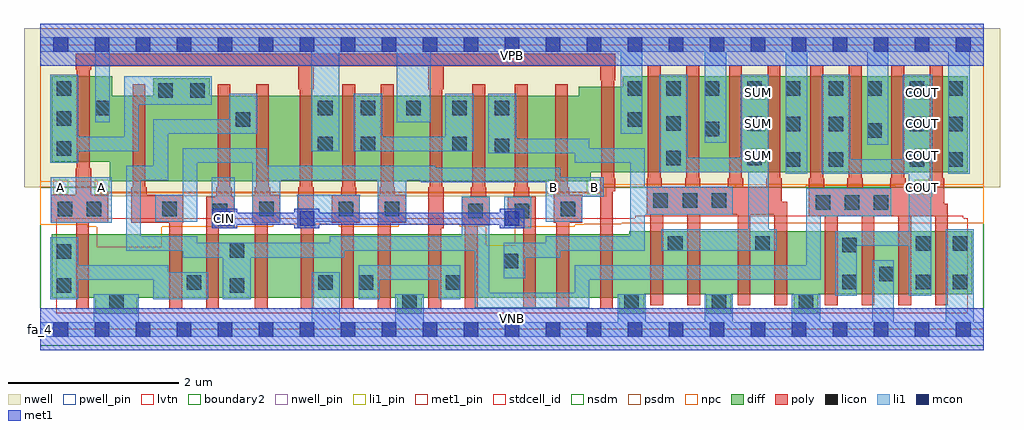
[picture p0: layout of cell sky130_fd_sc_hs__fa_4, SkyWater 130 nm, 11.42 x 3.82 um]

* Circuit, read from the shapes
.subckt sky130_fd_sc_hs__fa_4 A B CIN COUT SUM VGND VNB VPB VPWR
XM1 VGND A n1 VNB sky130_fd_pr__nfet_01v8_lvt w=0.74 l=0.15
XM2 n1 B VGND VNB sky130_fd_pr__nfet_01v8_lvt w=0.74 l=0.15
XM3 n2 CIN n1 VNB sky130_fd_pr__nfet_01v8_lvt w=0.74 l=0.15
XM4 n3 B n2 VNB sky130_fd_pr__nfet_01v8_lvt w=0.74 l=0.15
XM5 VGND A n3 VNB sky130_fd_pr__nfet_01v8_lvt w=0.74 l=0.15
XM6 n4 CIN VGND VNB sky130_fd_pr__nfet_01v8_lvt w=0.74 l=0.15
XM7 VGND B n4 VNB sky130_fd_pr__nfet_01v8_lvt w=0.74 l=0.15
XM8 n4 A VGND VNB sky130_fd_pr__nfet_01v8_lvt w=0.74 l=0.15
XM9 n5 n2 n4 VNB sky130_fd_pr__nfet_01v8_lvt w=0.74 l=0.15
XM10 n6 CIN n5 VNB sky130_fd_pr__nfet_01v8_lvt w=0.74 l=0.15
XM11 n7 B n6 VNB sky130_fd_pr__nfet_01v8_lvt w=0.74 l=0.15
XM12 VGND A n7 VNB sky130_fd_pr__nfet_01v8_lvt w=0.74 l=0.15
XM13 SUM n5 VGND VNB sky130_fd_pr__nfet_01v8_lvt w=0.74 l=0.15 m=4
XM14 COUT n2 VGND VNB sky130_fd_pr__nfet_01v8_lvt w=0.74 l=0.15 m=4
XM15 VPWR A n8 VPB sky130_fd_pr__pfet_01v8 w=1 l=0.15
XM16 n8 B VPWR VPB sky130_fd_pr__pfet_01v8 w=1 l=0.15
XM17 n2 CIN n8 VPB sky130_fd_pr__pfet_01v8 w=1 l=0.15
XM18 n9 B n2 VPB sky130_fd_pr__pfet_01v8 w=1 l=0.15
XM19 VPWR A n9 VPB sky130_fd_pr__pfet_01v8 w=1 l=0.15
XM20 n10 CIN VPWR VPB sky130_fd_pr__pfet_01v8 w=1 l=0.15
XM21 VPWR B n10 VPB sky130_fd_pr__pfet_01v8 w=1 l=0.15
XM22 n10 A VPWR VPB sky130_fd_pr__pfet_01v8 w=1 l=0.15
XM23 n5 n2 n10 VPB sky130_fd_pr__pfet_01v8 w=1 l=0.15
XM24 n11 CIN n5 VPB sky130_fd_pr__pfet_01v8 w=1 l=0.15
XM25 n12 B n11 VPB sky130_fd_pr__pfet_01v8 w=1 l=0.15
XM26 VPWR A n12 VPB sky130_fd_pr__pfet_01v8 w=1 l=0.15
XM27 SUM n5 VPWR VPB sky130_fd_pr__pfet_01v8 w=1.12 l=0.15 m=4
XM28 COUT n2 VPWR VPB sky130_fd_pr__pfet_01v8 w=1.12 l=0.15 m=4
.ends

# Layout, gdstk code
import gdstk
lib = gdstk.Library(unit=1e-6, precision=1e-09)
def R(c, l, rs):  # rectangles x0, y0, x1, y1
    for r in rs: c.add(gdstk.rectangle(r[:2], r[2:], *l))
def A(c, l, x, y, w, h, nx, ny, dx, dy):  # array of equal rectangles
    R(c, l, [(x+i*dx, y+j*dy, x+i*dx+w, y+j*dy+h) for i in range(nx) for j in range(ny)])
def P(c, l, *ps):  # polygons
    for p in ps: c.add(gdstk.Polygon(p, *l))
nwell_pin = (64, 16)
nwell = (64, 20)
diff = (65, 20)
poly = (66, 20)
licon = (66, 44)
li1_pin = (67, 16)
li1 = (67, 20)
mcon = (67, 44)
met1_pin = (68, 16)
met1 = (68, 20)
stdcell_id = (81, 4)
nsdm = (93, 44)
psdm = (94, 20)
npc = (95, 20)
pwell_pin = (122, 16)
lvtn = (125, 44)
boundary2 = (236, 0)

sky130_fd_sc_hs__fa_4 = lib.new_cell('sky130_fd_sc_hs__fa_4')
R(sky130_fd_sc_hs__fa_4, nwell_pin, [(0,3.085,11.04,3.33)])
P(sky130_fd_sc_hs__fa_4, nwell, [(11.23,3.52),(-0.19,3.52),(-0.19,1.66),(0.635,1.66),(0.635,1.555),(6.62,1.555),(6.62,1.66),(11.23,1.66)])
P(sky130_fd_sc_hs__fa_4, diff, [(10.855,2.96),(6.815,2.96),(6.815,2.84),(6.3,2.84),(6.3,2.735),(1.985,2.735),(1.985,2.94),(1.32,2.94),(1.32,2.735),(0.845,2.735),(0.845,2.96),(0.135,2.96),(0.135,1.96),(0.815,1.96),(0.815,1.735),(6.44,1.735),(6.44,1.84),(10.855,1.84)],
  [(10.905,1.15),(6.89,1.15),(6.89,1.11),(0.135,1.11),(0.135,0.37),(0.645,0.37),(0.645,0.18),(1.135,0.18),(1.135,0.37),(4.175,0.37),(4.175,0.18),(4.465,0.18),(4.465,0.37),(6.775,0.37),(6.775,0.18),(7.065,0.18),(7.065,0.41),(7.795,0.41),(7.795,0.18),(8.085,0.18),(8.085,0.41),(8.815,0.41),(8.815,0.18),(9.105,0.18),(9.105,0.41),(10.905,0.41)])
P(sky130_fd_sc_hs__fa_4, poly, [(10.62,1.47),(10.575,1.47),(10.575,1.765),(10.56,1.765),(10.56,3.09),(10.41,3.09),(10.41,1.765),(10.395,1.765),(10.395,1.65),(10.125,1.65),(10.125,1.765),(10.11,1.765),(10.11,3.09),(9.96,3.09),(9.96,1.765),(9.945,1.765),(9.945,1.65),(9.625,1.65),(9.625,1.765),(9.61,1.765),(9.61,3.09),(9.46,3.09),(9.46,1.765),(9.445,1.765),(9.445,1.65),(9.175,1.65),(9.175,1.765),(9.16,1.765),(9.16,3.09),(9.01,3.09),(9.01,1.765),(8.995,1.765),(8.995,1.32),(9.18,1.32),(9.18,0.28),(9.33,0.28),(9.33,1.32),(9.61,1.32),(9.61,0.28),(9.76,0.28),(9.76,1.32),(10.04,1.32),(10.04,0.28),(10.19,0.28),(10.19,1.32),(10.47,1.32),(10.47,0.28),(10.62,0.28)],
  [(8.74,1.49),(8.675,1.49),(8.675,1.765),(8.66,1.765),(8.66,3.09),(8.51,3.09),(8.51,1.765),(8.495,1.765),(8.495,1.67),(8.225,1.67),(8.225,1.765),(8.21,1.765),(8.21,3.09),(8.06,3.09),(8.06,1.765),(8.045,1.765),(8.045,1.67),(7.725,1.67),(7.725,1.765),(7.71,1.765),(7.71,3.09),(7.56,3.09),(7.56,1.765),(7.545,1.765),(7.545,1.67),(7.275,1.67),(7.275,1.765),(7.26,1.765),(7.26,3.09),(7.11,3.09),(7.11,1.765),(7.095,1.765),(7.095,1.34),(7.14,1.34),(7.14,0.28),(7.29,0.28),(7.29,1.34),(7.57,1.34),(7.57,0.28),(7.72,0.28),(7.72,1.34),(8.16,1.34),(8.16,0.28),(8.31,0.28),(8.31,1.34),(8.59,1.34),(8.59,0.28),(8.74,0.28)],
  [(6.73,1.765),(6.715,1.765),(6.715,2.915),(6.73,2.915),(6.73,3.225),(0.415,3.225),(0.415,3.035),(0.43,3.035),(0.43,1.885),(0.415,1.885),(0.415,1.575),(0.125,1.575),(0.125,1.245),(0.42,1.245),(0.42,0.24),(0.57,0.24),(0.57,1.245),(0.795,1.245),(0.795,1.575),(0.595,1.575),(0.595,1.885),(0.58,1.885),(0.58,3.035),(0.595,3.035),(0.595,3.075),(3.02,3.075),(3.02,2.81),(3.035,2.81),(3.035,1.66),(3.02,1.66),(3.02,1.185),(3.05,1.185),(3.05,0.24),(3.2,0.24),(3.2,1.66),(3.185,1.66),(3.185,2.81),(3.2,2.81),(3.2,3.075),(4.54,3.075),(4.54,2.81),(4.555,2.81),(4.555,1.66),(4.54,1.66),(4.54,0.24),(4.69,0.24),(4.69,1.185),(4.72,1.185),(4.72,1.66),(4.705,1.66),(4.705,2.81),(4.72,2.81),(4.72,3.075),(6.55,3.075),(6.55,2.915),(6.565,2.915),(6.565,1.765),(6.55,1.765),(6.55,0.24),(6.7,0.24),(6.7,1.615),(6.73,1.615)],
  [(6.34,1.575),(6.19,1.575),(6.19,1.66),(6.175,1.66),(6.175,2.865),(6.025,2.865),(6.025,1.66),(6.01,1.66),(6.01,1.245),(6.04,1.245),(6.04,0.24),(6.19,0.24),(6.19,1.245),(6.34,1.245)],
  [(5.8,1.55),(5.72,1.55),(5.72,1.66),(5.705,1.66),(5.705,2.865),(5.555,2.865),(5.555,1.66),(5.54,1.66),(5.54,1.55),(5.47,1.55),(5.47,1.22),(5.65,1.22),(5.65,0.24),(5.8,0.24)],
  [(5.26,1.55),(5.22,1.55),(5.22,1.66),(5.205,1.66),(5.205,2.865),(5.055,2.865),(5.055,1.66),(5.04,1.66),(5.04,1.55),(4.93,1.55),(4.93,1.22),(4.97,1.22),(4.97,0.24),(5.12,0.24),(5.12,1.22),(5.26,1.22)],
  [(4.28,1.575),(4.15,1.575),(4.15,1.66),(4.135,1.66),(4.135,2.865),(3.985,2.865),(3.985,1.66),(3.97,1.66),(3.97,1.575),(3.95,1.575),(3.95,0.24),(4.1,0.24),(4.1,1.245),(4.28,1.245)],
  [(3.74,1.575),(3.7,1.575),(3.7,1.66),(3.685,1.66),(3.685,2.865),(3.535,2.865),(3.535,1.66),(3.52,1.66),(3.52,1.575),(3.41,1.575),(3.41,1.245),(3.52,1.245),(3.52,0.24),(3.67,0.24),(3.67,1.245),(3.74,1.245)],
  [(2.81,1.575),(2.69,1.575),(2.69,1.66),(2.675,1.66),(2.675,2.865),(2.525,2.865),(2.525,1.66),(2.51,1.66),(2.51,1.575),(2.48,1.575),(2.48,1.245),(2.51,1.245),(2.51,0.24),(2.66,0.24),(2.66,1.245),(2.81,1.245)],
  [(2.27,1.55),(2.24,1.55),(2.24,1.66),(2.225,1.66),(2.225,2.865),(2.075,2.865),(2.075,1.66),(2.06,1.66),(2.06,1.55),(1.94,1.55),(1.94,0.24),(2.09,0.24),(2.09,1.22),(2.27,1.22)],
  [(1.675,1.575),(1.245,1.575),(1.245,1.66),(1.23,1.66),(1.23,2.865),(1.08,2.865),(1.08,1.66),(1.065,1.66),(1.065,1.245),(1.51,1.245),(1.51,0.24),(1.66,0.24),(1.66,1.245),(1.675,1.245)])
A(sky130_fd_sc_hs__fa_4, licon, 6.835, 0.24, 0.17, 0.17, 3, 1, 1.02, 0)
A(sky130_fd_sc_hs__fa_4, licon, 9.075, 1.4, 0.17, 0.17, 3, 1, 0.34, 0)
A(sky130_fd_sc_hs__fa_4, licon, 7.175, 1.42, 0.17, 0.17, 3, 1, 0.34, 0)
A(sky130_fd_sc_hs__fa_4, licon, 8.725, 1.9, 0.17, 0.17, 1, 3, 0, 0.415)
A(sky130_fd_sc_hs__fa_4, licon, 9.225, 1.9, 0.17, 0.17, 1, 3, 0, 0.415)
A(sky130_fd_sc_hs__fa_4, licon, 10.175, 1.9, 0.17, 0.17, 1, 3, 0, 0.415)
A(sky130_fd_sc_hs__fa_4, licon, 10.625, 1.9, 0.17, 0.17, 1, 3, 0, 0.415)
A(sky130_fd_sc_hs__fa_4, licon, 8.275, 1.92, 0.17, 0.17, 1, 3, 0, 0.405)
A(sky130_fd_sc_hs__fa_4, licon, 0.195, 2.03, 0.17, 0.17, 1, 3, 0, 0.35)
A(sky130_fd_sc_hs__fa_4, licon, 3.75, 2.505, 0.17, 0.17, 3, 1, 0.535, 0)
A(sky130_fd_sc_hs__fa_4, licon, 6.875, 2.73, 0.17, 0.17, 3, 1, 0.45, 0)
R(sky130_fd_sc_hs__fa_4, licon, [(0.805,0.24,0.975,0.41), (4.235,0.24,4.405,0.41), (0.195,0.43,0.365,0.6), (2.215,0.43,2.385,0.6), (1.715,0.465,1.885,0.635), (3.255,0.465,3.425,0.635), (3.725,0.465,3.895,0.635), (4.745,0.465,4.915,0.635), (9.385,0.47,9.555,0.64), (10.245,0.47,10.415,0.64), (10.675,0.47,10.845,0.64), (9.815,0.56,9.985,0.73), (5.425,0.715,5.595,0.885), (0.195,0.825,0.365,0.995), (2.215,0.84,2.385,1.01), (9.385,0.9,9.555,1.07), (7.345,0.92,7.515,1.09), (8.365,0.92,8.535,1.09), (10.245,0.92,10.415,1.09), (10.675,0.92,10.845,1.09), (2.02,1.3,2.19,1.47), (5.01,1.3,5.18,1.47), (5.55,1.3,5.72,1.47), (0.205,1.325,0.375,1.495), (0.545,1.325,0.715,1.495), (1.425,1.325,1.595,1.495), (2.56,1.325,2.73,1.495), (3.49,1.325,3.66,1.495), (4.03,1.325,4.2,1.495), (6.09,1.325,6.26,1.495), (7.325,1.92,7.495,2.09), (5.32,2.06,5.49,2.23), (3.25,2.085,3.42,2.255), (3.75,2.085,3.92,2.255), (4.82,2.085,4.99,2.255), (9.675,2.24,9.845,2.41), (7.775,2.26,7.945,2.43), (7.325,2.325,7.495,2.495), (2.29,2.37,2.46,2.54), (6.875,2.37,7.045,2.54), (0.645,2.505,0.815,2.675), (3.25,2.505,3.42,2.675), (5.32,2.505,5.49,2.675), (1.38,2.71,1.55,2.88), (1.755,2.71,1.925,2.88), (9.675,2.73,9.845,2.9)])
A(sky130_fd_sc_hs__fa_4, li1_pin, 10.235, 1.58, 0.17, 0.17, 1, 4, 0, 0.37)
A(sky130_fd_sc_hs__fa_4, li1_pin, 8.315, 1.95, 0.17, 0.17, 1, 3, 0, 0.37)
R(sky130_fd_sc_hs__fa_4, li1_pin, [(0.155,1.58,0.325,1.75), (0.635,1.58,0.805,1.75), (5.915,1.58,6.085,1.75), (6.395,1.58,6.565,1.75)])
R(sky130_fd_sc_hs__fa_4, li1, [(2.005,1.18,2.275,1.78), (5.43,1.18,5.745,1.55), (0.125,1.245,0.835,1.78)])
P(sky130_fd_sc_hs__fa_4, li1, [(0,-0.085),(0,0.085),(0.625,0.085),(0.625,0.41),(1.155,0.41),(1.155,0.085),(3.175,0.085),(3.175,0.67),(3.505,0.67),(3.505,0.085),(4.155,0.085),(4.155,0.41),(4.485,0.41),(4.485,0.085),(6.755,0.085),(6.755,0.41),(7.085,0.41),(7.085,0.085),(7.775,0.085),(7.775,0.41),(8.105,0.41),(8.105,0.085),(8.795,0.085),(8.795,0.41),(9.125,0.41),(9.125,0.085),(9.735,0.085),(9.735,0.81),(9.985,0.81),(9.985,0.085),(10.595,0.085),(10.595,1.17),(10.925,1.17),(10.925,0.085),(11.04,0.085),(11.04,-0.085)],
  [(0,3.245),(0,3.415),(11.04,3.415),(11.04,3.245),(10.875,3.245),(10.875,1.82),(10.625,1.82),(10.625,3.245),(9.925,3.245),(9.925,2.16),(9.675,2.16),(9.675,3.245),(8.975,3.245),(8.975,1.82),(8.725,1.82),(8.725,3.245),(8.025,3.245),(8.025,2.18),(7.775,2.18),(7.775,3.245),(7.045,3.245),(7.045,2.29),(6.795,2.29),(6.795,3.245),(4.57,3.245),(4.57,2.425),(4.17,2.425),(4.17,3.245),(3.5,3.245),(3.5,2.085),(3.17,2.085),(3.17,3.245),(0.815,3.245),(0.815,2.425),(0.645,2.425),(0.645,3.245)],
  [(6.085,1.89),(6.085,1.78),(6.595,1.78),(6.595,1.55),(6.34,1.55),(6.34,1.26),(5.915,1.26),(5.915,1.72),(4.45,1.72),(4.45,1.745),(4.28,1.745),(4.28,1.26),(3.95,1.26),(3.95,1.745),(2.81,1.745),(2.81,1.245),(2.48,1.245),(2.48,1.95),(1.835,1.95),(1.835,1.26),(1.345,1.26),(1.345,1.575),(1.665,1.575),(1.665,2.12),(2.65,2.12),(2.65,1.915),(4.62,1.915),(4.62,1.89)],
  [(10.095,1.99),(10.095,2.98),(10.435,2.98),(10.435,1.55),(10.425,1.55),(10.425,0.39),(10.165,0.39),(10.165,0.98),(9.555,0.98),(9.555,0.39),(9.305,0.39),(9.305,1.15),(10.165,1.15),(10.165,1.82),(9.145,1.82),(9.145,2.98),(9.475,2.98),(9.475,1.99)],
  [(8.195,2.01),(8.195,2.98),(8.525,2.98),(8.525,1.17),(8.615,1.17),(8.615,0.92),(7.265,0.92),(7.265,1.17),(8.285,1.17),(8.285,1.84),(7.245,1.84),(7.245,2.98),(7.575,2.98),(7.575,2.01)],
  [(5.57,2.23),(6.425,2.23),(6.425,2.12),(7.075,2.12),(7.075,1.67),(8.105,1.67),(8.105,1.34),(7.075,1.34),(7.075,0.92),(6.085,0.92),(6.085,0.84),(5.675,0.84),(5.675,0.595),(5.425,0.595),(5.425,1.01),(5.915,1.01),(5.915,1.09),(6.905,1.09),(6.905,1.95),(6.255,1.95),(6.255,2.06),(5.24,2.06),(5.24,2.755),(5.57,2.755)],
  [(4,2.255),(4.74,2.255),(4.74,2.755),(5.07,2.755),(5.07,2.085),(3.67,2.085),(3.67,2.755),(4,2.755)],
  [(1.495,2.29),(1.495,1.745),(1.175,1.745),(1.175,1.09),(1.835,1.09),(1.835,1.01),(3.385,1.01),(3.385,1.09),(4.93,1.09),(4.93,1.55),(5.26,1.55),(5.26,1.22),(5.255,1.22),(5.255,0.425),(6.255,0.425),(6.255,0.75),(8.965,0.75),(8.965,1.65),(9.955,1.65),(9.955,1.32),(9.135,1.32),(9.135,0.58),(6.425,0.58),(6.425,0.255),(5.085,0.255),(5.085,0.92),(3.555,0.92),(3.555,0.84),(2.465,0.84),(2.465,0.35),(2.135,0.35),(2.135,0.84),(1.665,0.84),(1.665,0.92),(1.005,0.92),(1.005,1.915),(1.325,1.915),(1.325,2.46),(2.21,2.46),(2.21,2.755),(2.54,2.755),(2.54,2.29)],
  [(4.915,0.75),(4.915,0.35),(4.665,0.35),(4.665,0.58),(3.975,0.58),(3.975,0.35),(3.725,0.35),(3.725,0.75)],
  [(0.445,0.75),(1.495,0.75),(1.495,0.67),(1.965,0.67),(1.965,0.35),(1.325,0.35),(1.325,0.58),(0.445,0.58),(0.445,0.35),(0.115,0.35),(0.115,1.075),(0.445,1.075)],
  [(0.985,2.96),(2.005,2.96),(2.005,2.63),(1.155,2.63),(1.155,2.085),(0.445,2.085),(0.445,1.95),(0.115,1.95),(0.115,2.98),(0.445,2.98),(0.445,2.255),(0.985,2.255)],
  [(3.74,1.575),(3.74,1.26),(3.215,1.26),(3.215,1.18),(3.005,1.18),(3.005,1.575)])
A(sky130_fd_sc_hs__fa_4, mcon, 0.155, -0.085, 0.17, 0.17, 23, 2, 0.48, 3.33)
R(sky130_fd_sc_hs__fa_4, mcon, [(2.075,1.21,2.245,1.38), (3.035,1.21,3.205,1.38), (5.435,1.21,5.605,1.38)])
R(sky130_fd_sc_hs__fa_4, met1_pin, [(0,0,11.04,0.245), (2.075,1.21,2.245,1.38), (0,3.085,11.04,3.33)])
R(sky130_fd_sc_hs__fa_4, met1, [(0,-0.245,11.04,0.245), (0,3.085,11.04,3.575)])
P(sky130_fd_sc_hs__fa_4, met1, [(2.305,1.365),(2.975,1.365),(2.975,1.41),(3.265,1.41),(3.265,1.365),(5.375,1.365),(5.375,1.41),(5.665,1.41),(5.665,1.18),(5.375,1.18),(5.375,1.225),(3.265,1.225),(3.265,1.18),(2.975,1.18),(2.975,1.225),(2.305,1.225),(2.305,1.18),(2.015,1.18),(2.015,1.41),(2.305,1.41)])
R(sky130_fd_sc_hs__fa_4, stdcell_id, [(0,0,11.04,3.33)])
P(sky130_fd_sc_hs__fa_4, nsdm, [(11.04,1.66),(6.57,1.66),(6.57,1.605),(0.685,1.605),(0.685,1.66),(0,1.66),(0,-0.19),(11.04,-0.19)])
P(sky130_fd_sc_hs__fa_4, psdm, [(11.04,3.52),(0,3.52),(0,1.66),(0.685,1.66),(0.685,1.605),(6.57,1.605),(6.57,1.66),(7.065,1.66),(7.065,1.7),(8.135,1.7),(8.135,1.66),(8.96,1.66),(8.96,1.68),(10.005,1.68),(10.005,1.66),(11.04,1.66)])
P(sky130_fd_sc_hs__fa_4, npc, [(11.04,1.7),(6.58,1.7),(6.58,1.595),(0.675,1.595),(0.675,1.73),(0,1.73),(0,1.225),(0.55,1.225),(0.55,1.2),(0.66,1.2),(0.66,0.96),(1.42,0.96),(1.42,1.2),(2.725,1.2),(2.725,1.225),(2.83,1.225),(2.83,1.23),(3.39,1.23),(3.39,1.225),(3.495,1.225),(3.495,1.2),(4.195,1.2),(4.195,1.225),(4.3,1.225),(4.3,1.23),(4.91,1.23),(4.91,1.2),(5.21,1.2),(5.21,0.975),(5.56,0.975),(5.56,1.2),(6.255,1.2),(6.255,1.225),(6.36,1.225),(6.36,1.23),(6.8,1.23),(6.8,1.24),(11.04,1.24)])
R(sky130_fd_sc_hs__fa_4, pwell_pin, [(0,0,11.04,0.245)])
P(sky130_fd_sc_hs__fa_4, lvtn, [(10.85,1.3),(10.8,1.3),(10.8,1.33),(6.96,1.33),(6.96,1.3),(0.19,1.3),(0.19,0.19),(10.85,0.19)])
R(sky130_fd_sc_hs__fa_4, boundary2, [(0,0,11.04,3.33)])
sky130_fd_sc_hs__fa_4.add(gdstk.Label('fa_4', (0,0), layer=83, texttype=44))
sky130_fd_sc_hs__fa_4.add(gdstk.Label('VNB', (5.52,0.123), layer=64, texttype=59))
sky130_fd_sc_hs__fa_4.add(gdstk.Label('VPB', (5.52,3.208), layer=64, texttype=5))
sky130_fd_sc_hs__fa_4.add(gdstk.Label('CIN', (2.16,1.295), layer=68, texttype=5))
sky130_fd_sc_hs__fa_4.add(gdstk.Label('VPWR', (5.52,3.208), layer=68, texttype=5))
sky130_fd_sc_hs__fa_4.add(gdstk.Label('VGND', (5.52,0.123), layer=68, texttype=5))
sky130_fd_sc_hs__fa_4.add(gdstk.Label('B', (6,1.665), layer=67, texttype=5))
sky130_fd_sc_hs__fa_4.add(gdstk.Label('B', (6.48,1.665), layer=67, texttype=5))
sky130_fd_sc_hs__fa_4.add(gdstk.Label('COUT', (10.32,1.665), layer=67, texttype=5))
sky130_fd_sc_hs__fa_4.add(gdstk.Label('COUT', (10.32,2.035), layer=67, texttype=5))
sky130_fd_sc_hs__fa_4.add(gdstk.Label('COUT', (10.32,2.405), layer=67, texttype=5))
sky130_fd_sc_hs__fa_4.add(gdstk.Label('COUT', (10.32,2.775), layer=67, texttype=5))
sky130_fd_sc_hs__fa_4.add(gdstk.Label('SUM', (8.4,2.035), layer=67, texttype=5))
sky130_fd_sc_hs__fa_4.add(gdstk.Label('SUM', (8.4,2.405), layer=67, texttype=5))
sky130_fd_sc_hs__fa_4.add(gdstk.Label('SUM', (8.4,2.775), layer=67, texttype=5))
sky130_fd_sc_hs__fa_4.add(gdstk.Label('A', (0.24,1.665), layer=67, texttype=5))
sky130_fd_sc_hs__fa_4.add(gdstk.Label('A', (0.72,1.665), layer=67, texttype=5))

lib.write_gds('sky130_fd_sc_hs__fa_4.gds')
